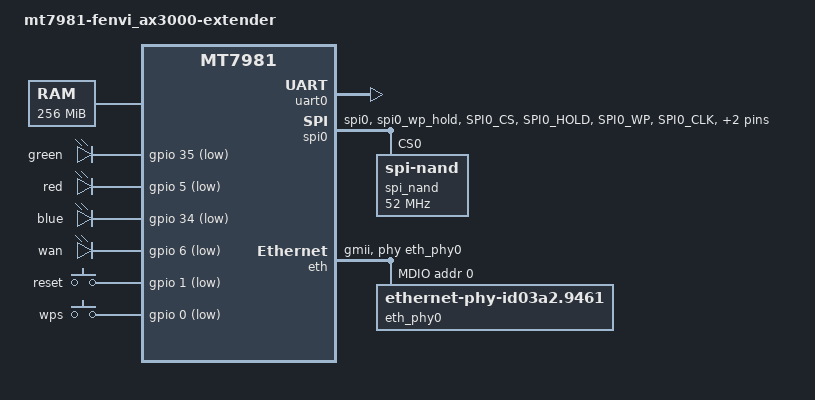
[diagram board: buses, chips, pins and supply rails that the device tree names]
// SPDX-License-Identifier: GPL-2.0
/dts-v1/;

#include "mt7981.dtsi"

#include <dt-bindings/gpio/gpio.h>
#include <dt-bindings/input/linux-event-codes.h>

/ {
	model = "mt7981-fenvi_ax3000-extender";
	compatible = "mediatek,mt7981", "mediatek,mt7981-rfb";

	aliases {
		serial0 = &uart0;
		ethernet0 = &eth;
		spi0 = &spi0;
	};

	chosen {
		stdout-path = "serial0:115200n8";
		bootargs = "console=ttyS0,115200n8";
	};
	
	config {
		bootcmd = "mtkboardboot";
		blink_led = "red";
		system_led = "red";
	};
	
	memory@40000000 {
		device_type = "memory";
		reg = <0x40000000 0x10000000>;
	};

	mtd-layout {
		compatible = "mediatek,mtd-layout";
		layout@0 {
			label = "default";
			mtdids = "nmbm0=nmbm0";
			mtdparts = "nmbm0:1024k(bl2),512k(u-boot-env),2048k(Factory),2048k(fip),64M(ubi)";
		};

		layout@1 {
			label = "immortalwrt-112m";
			mtdids = "nmbm0=nmbm0";
			mtdparts = "nmbm0:1024k(bl2),512k(u-boot-env),2048k(Factory),2048k(fip),112M(ubi)";
		};

		layout@2 {
			label = "qwrt";
			mtdids = "nmbm0=nmbm0";
			mtdparts = "nmbm0:1024k(bl2),512k(u-boot-env),2048k(Factory),2048k(fip),1024k(rsv0),110M(ubi)";
		};
	};

	leds {
		compatible = "gpio-leds";

		green_led: green {
			label = "green";
			gpios = <&gpio 35 GPIO_ACTIVE_LOW>;
			default-state = "off"; 
		};

		red_led: red {
			label = "red";
			gpios = <&gpio 5 GPIO_ACTIVE_LOW>;
			default-state = "on";
		};
 
		blue_led: blue {
			label = "blue";
			gpios = <&gpio 34 GPIO_ACTIVE_LOW>;
			default-state = "off";
		};

		wan_led: wan {
			label = "wan";
			gpios = <&gpio 6 GPIO_ACTIVE_LOW>;
			default-state = "on";
		};
	};

	gpio-keys {
		compatible = "gpio-keys";

		reset_button: reset {
			label = "reset";
			linux,code = <KEY_RESTART>;
			gpios = <&gpio 1 GPIO_ACTIVE_LOW>;
		};

		wps_button: wps {
			label = "wps";
			linux,code = <KEY_WPS_BUTTON>;
			gpios = <&gpio 0 GPIO_ACTIVE_LOW>;
		};
	};
};

&uart0 {
	status = "okay";
};

&spi0 {
	#address-cells = <1>;
	#size-cells = <0>;
	pinctrl-names = "default";
	pinctrl-0 = <&spi_flash_pins>;
	status = "okay";
	must_tx;
	enhance_timing;
	dma_ext;
	ipm_design;
	support_quad;
	tick_dly = <2>;
	sample_sel = <0>;

	spi_nand@0 {
		compatible = "spi-nand";
		reg = <0>; // Chip select 0
		spi-max-frequency = <52000000>;
	};
};

&eth {
	status = "okay";
	mediatek,gmac-id = <1>;
	phy-mode = "gmii";
	phy-handle = <&eth_phy0>;

	mdio_bus: mdio-bus {
		#address-cells = <1>;
		#size-cells = <0>;

		eth_phy0: ethernet-phy@0 {
			compatible = "ethernet-phy-id03a2.9461";
			reg = <0>;
			phy-mode = "gmii";
		};
	};
};

&pinctrl {
	spi_flash_pins: spi0-pins-func-1 {
		mux {
			function = "flash";
			groups = "spi0", "spi0_wp_hold";
		};
		conf-pu {
			pins = "SPI0_CS", "SPI0_HOLD", "SPI0_WP";
			drive-strength = <MTK_DRIVE_8mA>;
			bias-pull-up = <MTK_PUPD_SET_R1R0_11>;
		};
		conf-pd {
			pins = "SPI0_CLK", "SPI0_MOSI", "SPI0_MISO";
			drive-strength = <MTK_DRIVE_8mA>;
			bias-pull-down = <MTK_PUPD_SET_R1R0_11>;
		};
	};
};

&watchdog {
	status = "disabled";
};

